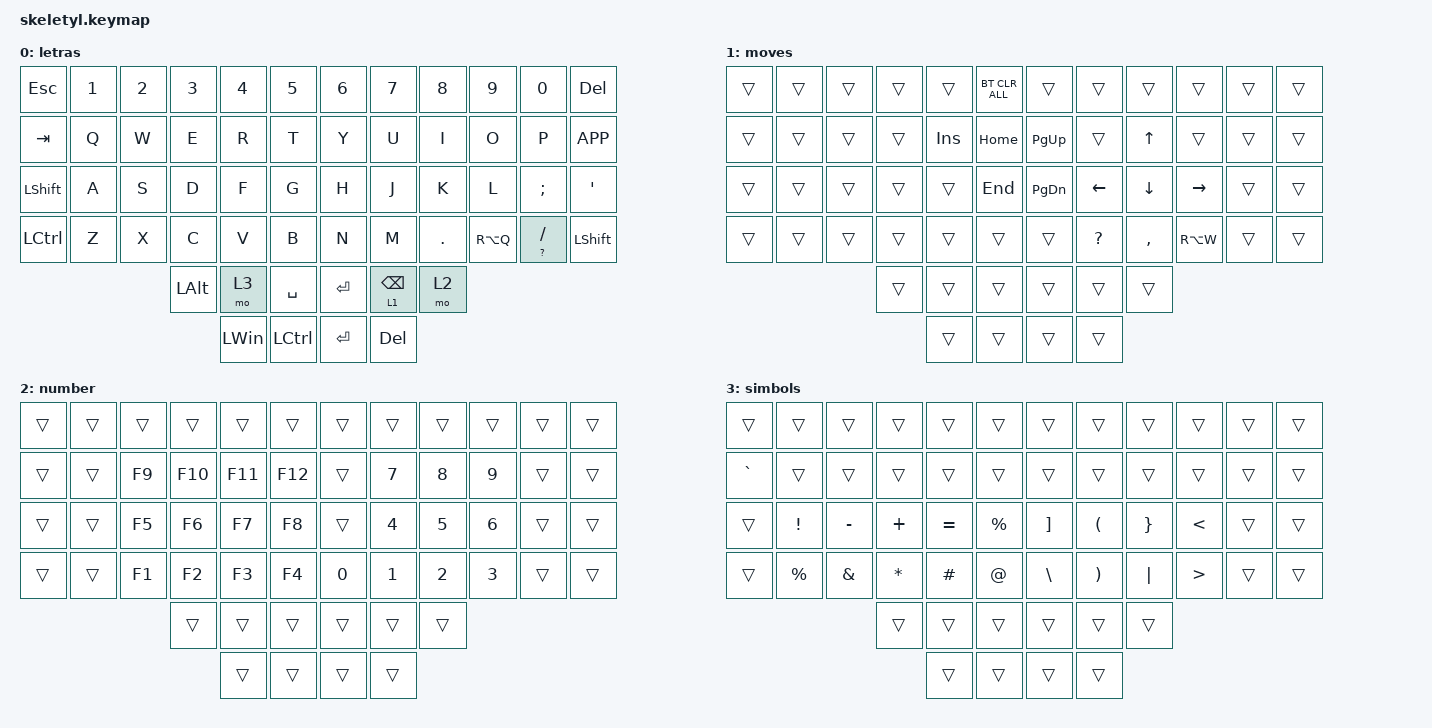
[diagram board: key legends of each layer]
#include <behaviors.dtsi>
#include <dt-bindings/zmk/bt.h>
#include <dt-bindings/zmk/keys.h>

/ {
    behaviors {
        hm: homerow_mods {
            compatible = "zmk,behavior-hold-tap";
            label = "HOMEROW_MODS";
            #binding-cells = <2>;
            tapping-term-ms = <300>;
            quick_tap_ms = <0>;
            flavor = "tap-preferred";
            bindings = <&kp>, <&kp>;
        };

        holdTap: holdTap {
            compatible = "zmk,behavior-hold-tap";
            label = "HOLDTAP";
            bindings = <&kp>, <&kp>;

            #binding-cells = <2>;
            tapping-term-ms = <400>;
            flavor = "tap-preferred";
        };
    };

    conditional_layers { compatible = "zmk,conditional-layers"; };

    combos {
        compatible = "zmk,combos";

        esc {
            bindings = <&kp ESC>;
            key-positions = <0 1>;
        };

        caps {
            bindings = <&kp CAPS>;
            key-positions = <0 10 20>;
        };

        back {
            bindings = <&kp BACKSPACE>;
            key-positions = <8 9>;
        };

        del {
            bindings = <&kp DEL>;
            key-positions = <9 19>;
        };

        qwerty {
            bindings = <&to 0>;
            key-positions = <11 12 13>;
        };
    };

    keymap {
        compatible = "zmk,keymap";

        letras {
            bindings = <
&kp ESC           &kp N1  &kp N2  &kp N3        &kp N4        &kp N5              &kp N6     &kp N7           &kp N8   &kp N9     &kp N0                   &kp DEL
&kp TAB           &kp Q   &kp W   &kp E         &kp R         &kp T               &kp Y      &kp U            &kp I    &kp O      &kp P                    &kp K_APP
&kp LSHFT         &kp A   &kp S   &kp D         &kp F         &kp G               &kp H      &kp J            &kp K    &kp L      &kp SEMI                 &kp SQT
&kp LEFT_CONTROL  &kp Z   &kp X   &kp C         &kp V         &kp B               &kp N      &kp M            &kp DOT  &kp RA(Q)  &holdTap QUESTION SLASH  &kp LSHIFT
                                  &kp LEFT_ALT  &mo 3         &kp SPACE           &kp ENTER  &lt 1 BACKSPACE  &mo 2
                                                &kp LEFT_WIN  &kp LEFT_CONTROL    &kp ENTER  &kp DELETE
            >;
        };

        moves {
            bindings = <
&trans  &trans  &trans  &trans  &trans      &bt BT_CLR_ALL    &trans         &trans        &trans        &trans     &trans  &trans
&trans  &trans  &trans  &trans  &kp INSERT  &kp HOME          &kp PAGE_UP    &trans        &kp UP_ARROW  &trans     &trans  &trans
&trans  &trans  &trans  &trans  &trans      &kp END           &kp PAGE_DOWN  &kp LEFT      &kp DOWN      &kp RIGHT  &trans  &trans
&trans  &trans  &trans  &trans  &trans      &trans            &trans         &kp QUESTION  &kp COMMA     &kp RA(W)  &trans  &trans
                        &trans  &trans      &trans            &trans         &trans        &trans
                                &trans      &trans            &trans         &trans
            >;
        };

        number {
            bindings = <
&trans  &trans  &trans  &trans   &trans   &trans     &trans  &trans  &trans  &trans  &trans  &trans
&trans  &trans  &kp F9  &kp F10  &kp F11  &kp F12    &trans  &kp N7  &kp N8  &kp N9  &trans  &trans
&trans  &trans  &kp F5  &kp F6   &kp F7   &kp F8     &trans  &kp N4  &kp N5  &kp N6  &trans  &trans
&trans  &trans  &kp F1  &kp F2   &kp F3   &kp F4     &kp N0  &kp N1  &kp N2  &kp N3  &trans  &trans
                        &trans   &trans   &trans     &trans  &trans  &trans
                                 &trans   &trans     &trans  &trans
            >;
        };

        simbols {
            bindings = <
&trans     &trans       &trans         &trans        &trans     &trans         &trans    &trans    &trans           &trans            &trans  &trans
&kp GRAVE  &trans       &trans         &trans        &trans     &trans         &trans    &trans    &trans           &trans            &trans  &trans
&trans     &kp EXCL     &kp MINUS      &kp PLUS      &kp EQUAL  &kp PERCENT    &kp RBKT  &kp LPAR  &kp RIGHT_BRACE  &kp LESS_THAN     &trans  &trans
&trans     &kp PERCENT  &kp AMPERSAND  &kp ASTERISK  &kp HASH   &kp AT         &kp BSLH  &kp RPAR  &kp PIPE         &kp GREATER_THAN  &trans  &trans
                                       &trans        &trans     &trans         &trans    &trans    &trans
                                                     &trans     &trans         &trans    &trans
            >;
        };
    };
};
